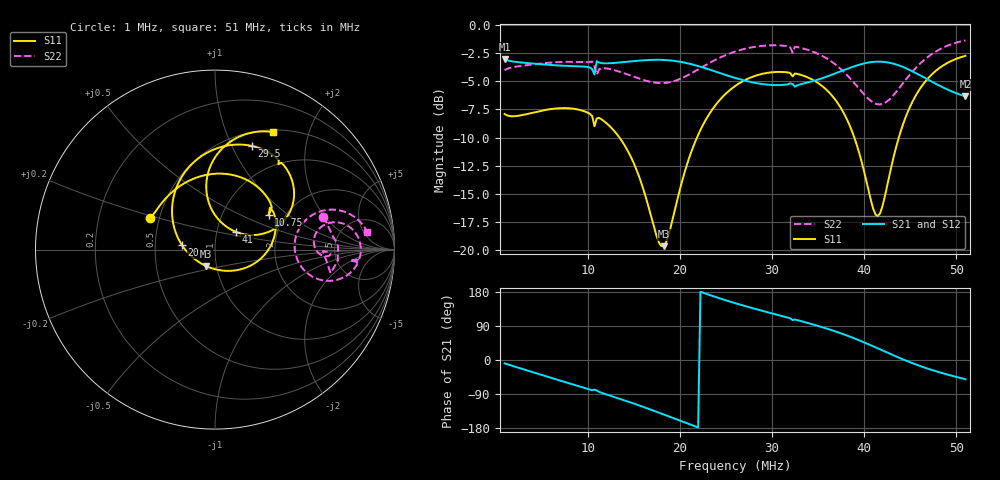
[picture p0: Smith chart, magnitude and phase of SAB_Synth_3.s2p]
# MHz S RI R 50
! S-Parameters data
! Freq  reS11  imS11  reS21  imS21  reS12  imS12  reS22  imS22
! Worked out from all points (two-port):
!   201 points, 1 MHz to 51 MHz, reference 50 ohm
!   highest |S21| = -3.02 dB at 1 MHz (marker M1); lowest = -6.3 dB at 51 MHz (marker M2)
!   |S21| within 3 dB of the highest: start of sweep to 49.9 MHz
!   lowest |S11| = -19.6 dB at 18.25 MHz (marker M3), VSWR 1.23, Z = 44.5 - j8.22 ohm
!   |S11| at or under -10 dB: 13.46 MHz to 21.87 MHz (8.409 MHz wide, 47.6 % of centre); 38.95 MHz to 43.77 MHz (4.825 MHz wide, 11.7 % of centre)
!   |S22| runs from -7.1 to -1.4 dB; largest |S21 - S12| = 0
!   S11 on the Smith chart (normalised r, x): 1 MHz: 0.44, +0.18; 10.75 MHz: 1.65, +0.73; 20 MHz: 0.69, +0.03; 29.5 MHz: 0.65, +1.19; 41 MHz: 1.24, +0.25; 51 MHz: 0.53, +1.47
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1  -0.3632 0.174  0.6974 -0.1098  0.6974 -0.1098  0.6037 0.182
5.5  -0.037 0.4184  0.487 -0.4553  0.487 -0.4553  0.6766 0.0406
9.5  0.274 0.3128  0.1975 -0.6235  0.1975 -0.6235  0.6839 -0.0191
10.5  0.3172 0.2341  0.1122 -0.6267  0.1122 -0.6267  0.6856 -0.0593
10.75  0.2984 0.1928  0.1244 -0.5899  0.1244 -0.5899  0.6439 -0.1307
11  0.3061 0.2333  0.1156 -0.6807  0.1156 -0.6807  0.6014 -0.00819
14.25  0.2806 -0.0235  -0.2179 -0.6509  -0.2179 -0.6509  0.6038 -0.0353
17.75  -0.00403 -0.1082  -0.5291 -0.4589  -0.5291 -0.4589  0.5515 0.0297
18.25  -0.0502 -0.0914  -0.5634 -0.4144  -0.5634 -0.4144  0.5504 0.0448
20  -0.1833 0.0239  -0.6449 -0.2367  -0.6449 -0.2367  0.5666 0.0984
22.75  -0.2305 0.2948  -0.6413 0.0489  -0.6413 0.0489  0.6443 0.1502
26  -0.0574 0.5323  -0.5044 0.2908  -0.5044 0.2908  0.7513 0.1246
29.5  0.204 0.5779  -0.3214 0.4383  -0.3214 0.4383  0.8105 0.0254
34.5  0.4341 0.3675  -0.0353 0.5631  -0.0353 0.5631  0.7479 -0.1342
38.25  0.3503 0.1284  0.2843 0.5739  0.2843 0.5739  0.5707 -0.1631
41  0.1163 0.0989  0.5545 0.4034  0.5545 0.4034  0.451 -0.0342
41.75  0.0519 0.1366  0.6074 0.3218  0.6074 0.3218  0.4435 0.0203
42.75  -0.0137 0.2143  0.6501 0.1993  0.6501 0.1993  0.4575 0.0932
44.25  -0.0487 0.3606  0.6502 0.0152  0.6502 0.0152  0.5228 0.1798
46  0.00158 0.5159  0.5793 -0.1567  0.5793 -0.1567  0.631 0.222
48.25  0.1408 0.6316  0.4499 -0.2912  0.4499 -0.2912  0.7568 0.1948
51  0.3208 0.6551  0.3058 -0.3728  0.3058 -0.3728  0.8479 0.0978
